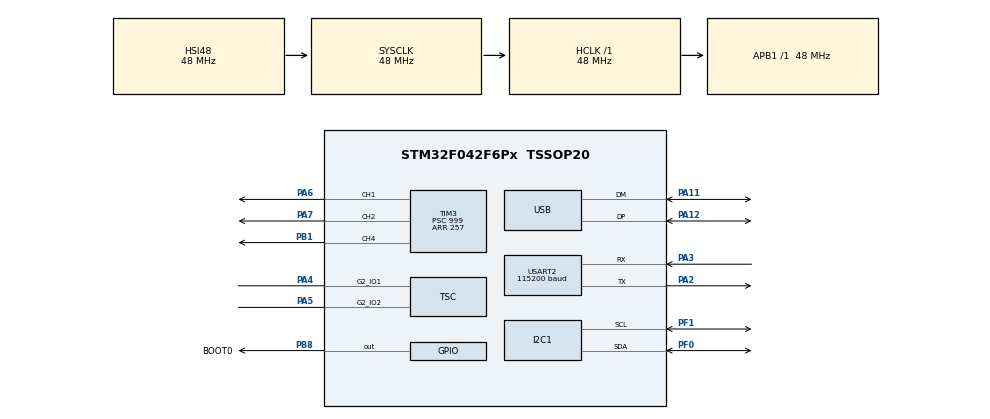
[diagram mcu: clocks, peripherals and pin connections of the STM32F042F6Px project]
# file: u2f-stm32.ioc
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I2C1.OwnAddress2Masks=I2C_OA2_NOMASK
Mcu.Family=STM32F0
Mcu.Name=STM32F042F6Px
Mcu.Package=TSSOP20
NVIC.USART2_IRQn=true\:0\:0\:false\:false\:true
NVIC.USB_IRQn=true\:0\:0\:false\:false\:true
PA11.Mode=Device
PA11.Signal=USB_DM
PA12.Mode=Device
PA12.Signal=USB_DP
PA13.Mode=Serial_Wire
PA13.Signal=SYS_SWDIO
PA14.Mode=Serial_Wire
PA14.Signal=SYS_SWCLK
PA2.Mode=Asynchronous
PA2.Signal=USART2_TX
PA3.Mode=Asynchronous
PA3.Signal=USART2_RX
PA4.Mode=G2_IO1-Channel
PA4.Signal=TSC_G2_IO1
PA5.Mode=G2_IO2-Sampling
PA5.Signal=TSC_G2_IO2
PA6.Signal=S_TIM3_CH1
PA7.Signal=S_TIM3_CH2
PB1.Signal=S_TIM3_CH4
PB8.GPIO_Label=BOOT0
PB8.Signal=GPIO_Output
PF0-OSC_IN.Mode=I2C
PF0-OSC_IN.Signal=I2C1_SDA
PF1-OSC_OUT.Mode=I2C
PF1-OSC_OUT.Signal=I2C1_SCL
ProjectManager.HeapSize=0x200
ProjectManager.StackSize=0x400
ProjectManager.TargetToolchain=SW4STM32
RCC.AHBFreq_Value=48000000
RCC.APB1Freq_Value=48000000
RCC.APB1TimFreq_Value=48000000
RCC.CECEnable=false
RCC.ClockTypeHCLK=RCC_CLOCKTYPE_HCLK
RCC.ClockTypePCLK1=RCC_CLOCKTYPE_PCLK1
RCC.DATA_CACHE_ENABLE=0
RCC.EnableHSE=false
RCC.EnableHSERTCDevisor=false
RCC.EnableLSE=false
RCC.EnableLSERTC=false
RCC.EnableMCOMultDivisor=false
RCC.HCLKFreq_Value=48000000
RCC.HSEState=RCC_HSE_OFF
RCC.HSI14State=RCC_HSI14_OFF
RCC.HSI48State=RCC_HSI48_ON
RCC.HSIState=RCC_HSI_ON
RCC.I2C1Enable=true
RCC.INSTRUCTION_CACHE_ENABLE=0
RCC.IWDGEnable=false
RCC.LSIState=RCC_LSI_ON
RCC.MCOEnable=false
RCC.OscillatorTypeHSI=RCC_OSCILLATORTYPE_HSI
RCC.OscillatorTypeHSI48=RCC_OSCILLATORTYPE_HSI48
RCC.OscillatorTypeLSI=RCC_OSCILLATORTYPE_LSI
RCC.PLLSource=RCC_PLLSOURCE_HSI
RCC.PLLSourceVirtual=RCC_PLLSOURCE_HSI
RCC.PLLState=RCC_PLL_OFF
RCC.RCC_PERIPHCLK_I2C1Var=RCC_PERIPHCLK_I2C1
RCC.RCC_PERIPHCLK_RTCVar=RCC_PERIPHCLK_RTC
RCC.RTCEnable=true
RCC.SYSCLKFreq_VALUE=48000000
RCC.SYSCLKSource=RCC_SYSCLKSOURCE_HSI48
RCC.USART1Enable=false
RCC.USART2Enable=true
RCC.USBEnable=true
RTC.OutPut=RTC_OUTPUT_DISABLE
RTC.OutPutPolarity=RTC_OUTPUT_POLARITY_HIGH
RTC.OutPutType=RTC_OUTPUT_TYPE_OPENDRAIN
SH.S_TIM3_CH1.0=TIM3_CH1,PWM Generation1 CH1
SH.S_TIM3_CH2.0=TIM3_CH2,PWM Generation2 CH2
SH.S_TIM3_CH4.0=TIM3_CH4,PWM Generation4 CH4
TIM3.AutoReloadPreload=TIM_AUTORELOAD_PRELOAD_DISABLE
TIM3.Channel-PWM\ Generation1\ CH1=TIM_CHANNEL_1
TIM3.Channel-PWM\ Generation2\ CH2=TIM_CHANNEL_2
TIM3.Channel-PWM\ Generation4\ CH4=TIM_CHANNEL_4
TIM3.ClearInputSource=TIM_CLEARINPUTSOURCE_NONE
TIM3.ClearInputState=ENABLE
TIM3.OCPolarity_1=TIM_OCPOLARITY_LOW
TIM3.OCPolarity_2=TIM_OCPOLARITY_LOW
TIM3.OCPolarity_4=TIM_OCPOLARITY_LOW
TIM3.Period=257
TIM3.Prescaler=999
TSC.CTPulseHighLength=TSC_CTPH_1CYCLE
TSC.CTPulseLowLength=TSC_CTPL_1CYCLE
TSC.ChannelIOs-G2_IO1=TSC_GROUP2_IO1
TSC.MaxCountValue=TSC_MCV_16383
TSC.SamplingIOs-G2_IO2=TSC_GROUP2_IO2
USART2.BaudRate=115200
USART2.HwFlowCtl-Asynchronous=UART_HWCONTROL_NONE
USART2.VirtualMode-Asynchronous=VM_ASYNC
USART2.WordLength=WORDLENGTH_8B
USB_DEVICE.CLASS_NAME_FS=CUSTOMHID
USB_DEVICE.MANUFACTURER_STRING=TUNA
USB_DEVICE.PID_CUSTOMHID_FS=35535
USB_DEVICE.PRODUCT_STRING_CUSTOMHID_FS=U2F-TypeC
USB_DEVICE.USBD_CUSTOMHID_OUTREPORT_BUF_SIZE=64
USB_DEVICE.USBD_CUSTOM_HID_REPORT_DESC_SIZE=34
USB_DEVICE.USBD_DEBUG_LEVEL=0
USB_DEVICE.USBD_HandleTypeDef_FS=hUsbDevice_USB_FS
USB_DEVICE.USBD_SELF_POWERED=0
USB_DEVICE.VID=4292
USB_DEVICE.VirtualMode=CustomHid
USB_DEVICE.VirtualModeFS=Custom_Hid_FS
VP_RTC_VS_RTC_Activate.Mode=RTC_Enabled
VP_SYS_VS_PINREMAP.Mode=PINREMAP
VP_USB_DEVICE_VS_USB_DEVICE_CUSTOM_HID_FS.Mode=CUSTOM_HID_FS
board=u2f-stm32

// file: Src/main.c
/**
  ******************************************************************************
  * File Name          : main.c
  * Description        : Main program body
  ******************************************************************************
  *
  * Copyright (c) 2017 STMicroelectronics International N.V.
  * All rights reserved.
  *
  * Redistribution and use in source and binary forms, with or without
  * modification, are permitted, provided that the following conditions are met:
  *
  * 1. Redistribution of source code must retain the above copyright notice,
  *    this list of conditions and the following disclaimer.
  * 2. Redistributions in binary form must reproduce the above copyright notice,
  *    this list of conditions and the following disclaimer in the documentation
  *    and/or other materials provided with the distribution.
  * 3. Neither the name of STMicroelectronics nor the names of other
  *    contributors to this software may be used to endorse or promote products
  *    derived from this software without specific written permission.
  * 4. This software, including modifications and/or derivative works of this
  *    software, must execute solely and exclusively on microcontroller or
  *    microprocessor devices manufactured by or for STMicroelectronics.
  * 5. Redistribution and use of this software other than as permitted under
  *    this license is void and will automatically terminate your rights under
  *    this license.
  *
  * THIS SOFTWARE IS PROVIDED BY STMICROELECTRONICS AND CONTRIBUTORS "AS IS"
  * AND ANY EXPRESS, IMPLIED OR STATUTORY WARRANTIES, INCLUDING, BUT NOT
  * LIMITED TO, THE IMPLIED WARRANTIES OF MERCHANTABILITY, FITNESS FOR A
  * PARTICULAR PURPOSE AND NON-INFRINGEMENT OF THIRD PARTY INTELLECTUAL PROPERTY
  * RIGHTS ARE DISCLAIMED TO THE FULLEST EXTENT PERMITTED BY LAW. IN NO EVENT
  * SHALL STMICROELECTRONICS OR CONTRIBUTORS BE LIABLE FOR ANY DIRECT, INDIRECT,
  * INCIDENTAL, SPECIAL, EXEMPLARY, OR CONSEQUENTIAL DAMAGES (INCLUDING, BUT NOT
  * LIMITED TO, PROCUREMENT OF SUBSTITUTE GOODS OR SERVICES; LOSS OF USE, DATA,
  * OR PROFITS; OR BUSINESS INTERRUPTION) HOWEVER CAUSED AND ON ANY THEORY OF
  * LIABILITY, WHETHER IN CONTRACT, STRICT LIABILITY, OR TORT (INCLUDING
  * NEGLIGENCE OR OTHERWISE) ARISING IN ANY WAY OUT OF THE USE OF THIS SOFTWARE,
  * EVEN IF ADVISED OF THE POSSIBILITY OF SUCH DAMAGE.
  *
  ******************************************************************************
  */
#include "main.h"
#include "stm32f0xx_hal.h"
#include "usb_device.h"

/* USER CODE BEGIN Includes */
#include "app.h"
#include "i2c.h"
#include "atecc508a.h"
#include "eeprom.h"
#include "bsp.h"
#include "custom.h"
#include "u2f.h"
#include "tests.h"

/* USER CODE END Includes */

I2C_HandleTypeDef hi2c1;

RTC_HandleTypeDef hrtc;

TIM_HandleTypeDef htim3;

TSC_HandleTypeDef htsc;

UART_HandleTypeDef huart2;

/* USER CODE BEGIN PV */
/* Private variables ---------------------------------------------------------*/

data struct APP_DATA appdata;

uint8_t error;
uint8_t state;
uint32_t winkc;
struct u2f_hid_msg hid_msg_buf;
struct u2f_hid_msg * hid_msg;

static volatile uint8_t debug_usart_rxbuf[DEBUG_USART_RXBUF_SIZE];
extern char USB_SERIAL_NUMBER_DEF[];
/* USER CODE END PV */

void SystemClock_Config(void);
void Error_Handler(void);
static void MX_GPIO_Init(void);
static void MX_I2C1_Init(void);
static void MX_TSC_Init(void);
static void MX_USART2_UART_Init(void);
static void MX_TIM3_Init(void);
static void MX_RTC_Init(void);

void HAL_TIM_MspPostInit(TIM_HandleTypeDef *htim);

/* USER CODE BEGIN PFP */
/* Private function prototypes -----------------------------------------------*/

/* USER CODE END PFP */

/* USER CODE BEGIN 0 */

static void init(struct APP_DATA* ap)
{

  u2f_hid_init();
  smb_init();
  atecc_idle();

  // U2F_BUTTON_VAL = 1;
  state = APP_NOTHING;
  error = ERROR_NOTHING;
}

void set_app_error(APP_ERROR_CODE ec)
{
  error = ec;
}

uint8_t get_app_error()
{
  return error;
}

uint8_t get_app_state()
{
  return state;
}

void set_app_state(APP_STATE s)
{
  state = s;
}

void app_wink(uint32_t c)
{
#ifdef U2F_SUPPORT_WINK
  winkc = c;
  set_app_state(APP_WINK);
#endif
}

void set_app_u2f_hid_msg(struct u2f_hid_msg * msg )
{
  state = APP_HID_MSG;
  hid_msg = &hid_msg_buf;
  memcpy(hid_msg, msg, sizeof(hid_msg_buf));
}

void rgb(uint8_t r, uint8_t g, uint8_t b)
{
  TIM_OC_InitTypeDef sConfigOC;

  sConfigOC.OCMode = TIM_OCMODE_PWM1;
  sConfigOC.OCPolarity = TIM_OCPOLARITY_LOW;
  sConfigOC.OCFastMode = TIM_OCFAST_DISABLE;
  sConfigOC.OCNPolarity  = TIM_OCNPOLARITY_HIGH;
  sConfigOC.OCIdleState  = TIM_OCIDLESTATE_RESET;
  sConfigOC.OCNIdleState = TIM_OCNIDLESTATE_RESET;

  sConfigOC.Pulse = r;
  HAL_TIM_PWM_ConfigChannel(&htim3, &sConfigOC, TIM_CHANNEL_1);

  sConfigOC.Pulse = g;
  HAL_TIM_PWM_ConfigChannel(&htim3, &sConfigOC, TIM_CHANNEL_2);

  sConfigOC.Pulse = b;
  HAL_TIM_PWM_ConfigChannel(&htim3, &sConfigOC, TIM_CHANNEL_4);

  HAL_TIM_PWM_Start(&htim3, TIM_CHANNEL_1);
  HAL_TIM_PWM_Start(&htim3, TIM_CHANNEL_2);
  HAL_TIM_PWM_Start(&htim3, TIM_CHANNEL_4);
}

#define ms_since(ms,num) (((uint16_t)get_ms() - (ms)) >= num ? ((ms=(uint16_t)get_ms())):0)

/**
  * @brief  Rx Transfer completed callback
  * @param  UartHandle: UART handle
  * @note   This example shows a simple way to report end of DMA Rx transfer, and
  *         you can add your own implementation.
  * @retval None
  */
void HAL_UART_RxCpltCallback(UART_HandleTypeDef *UartHandle)
{
    u2f_prints("in\r\n");
  /* Set transmission flag: trasfer complete*/
  if(debug_usart_rxbuf[0] == 0x55){
      u2f_prints("restarting for upgrade\r\n");
      reboot_to_bootloader();
  }
  HAL_UART_Receive_IT(&huart2, (uint8_t *)debug_usart_rxbuf, 1);
}

#ifdef U2F_PRINT
/* Retargeting functions for gcc-arm-embedded */
int _write (int fd, char *ptr, int len)
{
  /* Write "len" of char from "ptr" to file id "fd"
   * Return number of char written.
   * Need implementing with UART here. */
  HAL_UART_Transmit(&huart2, (uint8_t*)ptr, len, 1000);
  return len;
}
#endif
/* USER CODE END 0 */

int main(void)
{

  /* USER CODE BEGIN 1 */

  uint16_t ms_heart=0;
  uint16_t ms_wink=0;
  uint16_t ms_grad=0;
  uint8_t winks = 0, light = 1, grad_dir = 0;
  int8_t grad_inc = 0;
  int8_t ii;
  // data uint8_t xdata * clear = 0;
  data int8_t i;

  hrtc.Instance =RTC;
  if(HAL_RTCEx_BKUPRead(&hrtc, RTC_BKP_DR0) ==0x32F0){
      const uintptr_t bootloader = 0x1FFFC400;
      MX_GPIO_Init();
      HAL_GPIO_WritePin(BOOT0_GPIO_Port, BOOT0_Pin, GPIO_PIN_SET);

      //clear flag
      __HAL_RCC_PWR_CLK_ENABLE();
      HAL_PWR_EnableBkUpAccess();
      __HAL_RCC_RTC_CONFIG(RCC_RTCCLKSOURCE_LSI);
      __HAL_RCC_RTC_ENABLE();
      HAL_RTCEx_BKUPWrite(&hrtc, RTC_BKP_DR0,0x0);
      __HAL_RCC_RTC_DISABLE();
       HAL_PWR_DisableBkUpAccess();
      __HAL_RCC_PWR_CLK_DISABLE();

      //jump to bootloader
      __set_MSP(*(__IO uint32_t*) bootloader);
      void (*SysMemBootJump)(void) = (void (*)(void)) (*((uint32_t *) (bootloader+4)));

      //  void (*SysMemBootJump)(void) = (void (*)(void)) 0x1FFFC518; //ref: AN2606 section "STM32F04xxx devices bootloader"

      SysMemBootJump();
  }
  //build USB serial number by unique chip ID
  for (int word = 0; word < 3; ++word)
  {
    uint32_t val = STM32_UUID[word];
    for (int hb = 0; hb < 8; ++hb)
    {
      char ch = val & 0xf;
      ch = (ch < 10) ? ch + '0' : ch - 10 + 'A';
      USB_SERIAL_NUMBER_DEF[23-(word*8+hb)] = ch;
      val >>= 4;
    }
  }

  /* USER CODE END 1 */

  /* MCU Configuration----------------------------------------------------------*/

  /* Reset of all peripherals, Initializes the Flash interface and the Systick. */
  HAL_Init();

  /* Configure the system clock */
  SystemClock_Config();

  /* Initialize all configured peripherals */
  MX_GPIO_Init();
  MX_I2C1_Init();
  MX_TSC_Init();
  MX_USART2_UART_Init();
  MX_TIM3_Init();
  MX_USB_DEVICE_Init();
  MX_RTC_Init();

  /* USER CODE BEGIN 2 */
  rgb_hex(0);

  //for debug only!
  HAL_UART_Receive_IT(&huart2, (uint8_t *)debug_usart_rxbuf, 1);

  init(&appdata);
  u2f_prints("U2F ZERO\r\n");

  run_tests();

  atecc_setup_init(appdata.tmp);

  rgb_hex(0);

  /* USER CODE END 2 */

  /* Infinite loop */
  while (1)
  {

  /* USER CODE BEGIN 3 */
    u2f_hid_check_timeouts();

    switch(state)
    {
      case APP_NOTHING:
        // Flash gradient on LED
        if (ms_since(ms_grad, 150))
        {
          if (light == 16)
          {
            grad_dir = 0;
          }
          else if (light == 1)
          {
            grad_dir = 1;
          }
          if (grad_dir)
            if (U2F_BUTTON_IS_PRESSED())
              rgb(0,0,light++);
            else
              rgb(0,light++,0);
          else
            if (U2F_BUTTON_IS_PRESSED())
              rgb(0,0,light--);
            else
              rgb(0,light--,0);
        }
        break;
      case APP_HID_MSG:
        // HID msg received, pass to protocols
        if (custom_command(hid_msg))
        {

        }
        else
        {
          u2f_hid_request(hid_msg);
        }

        if (state == APP_HID_MSG)
          state = APP_NOTHING;
        break;
#ifdef U2F_SUPPORT_WINK
      case APP_WINK:
        // Do wink pattern for USB HID wink request
        rgb_hex(winkc);
        light = 1;
        ms_wink = get_ms();
        state = _APP_WINK;
        break;
      case _APP_WINK:

        if (ms_since(ms_wink,150))
        {
          if (light)
          {
            light = 0;
            rgb_hex(winkc);
          }
          else
          {
            light = 1;
            rgb_hex(0);
          }
          winks++;
        }
        if (winks == 5)
        {
          winks = 0;
          state = APP_NOTHING;
        }
        break;
#endif
    }

    if (error)
    {
      u2f_printx("error: ", 1, (uint16_t)error);
#ifdef U2F_BLINK_ERRORS
      for (ii=0; ii < 8; ii++)
      {
        if (error & (1<<ii))
        {
          rgb_hex(U2F_DEFAULT_COLOR_INPUT_SUCCESS);
        }
        else
        {
          rgb_hex(U2F_DEFAULT_COLOR_ERROR);
        }
        u2f_delay(400);
        rgb_hex(0);
        u2f_delay(100);

      }
#else
      rgb_hex(U2F_DEFAULT_COLOR_ERROR);
      // wipe ram
      // for (i=0; i<0x400;i++)
      // {
      //   *(clear++) = 0x0;
      // }
#endif
      error = 0;
      while(!ms_since(ms_heart,500))
      {
        watchdog();
      }
    }
  }
  /* USER CODE END 3 */

}

/** System Clock Configuration
*/
void SystemClock_Config(void)
{

  RCC_OscInitTypeDef RCC_OscInitStruct;
  RCC_ClkInitTypeDef RCC_ClkInitStruct;
  RCC_PeriphCLKInitTypeDef PeriphClkInit;

    /**Initializes the CPU, AHB and APB busses clocks
    */
  RCC_OscInitStruct.OscillatorType = RCC_OSCILLATORTYPE_HSI|RCC_OSCILLATORTYPE_HSI48
                              |RCC_OSCILLATORTYPE_LSI;
  RCC_OscInitStruct.HSIState = RCC_HSI_ON;
  RCC_OscInitStruct.HSI48State = RCC_HSI48_ON;
  RCC_OscInitStruct.HSICalibrationValue = 16;
  RCC_OscInitStruct.LSIState = RCC_LSI_ON;
  RCC_OscInitStruct.PLL.PLLState = RCC_PLL_NONE;
  if (HAL_RCC_OscConfig(&RCC_OscInitStruct) != HAL_OK)
  {
    Error_Handler();
  }

    /**Initializes the CPU, AHB and APB busses clocks
    */
  RCC_ClkInitStruct.ClockType = RCC_CLOCKTYPE_HCLK|RCC_CLOCKTYPE_SYSCLK
                              |RCC_CLOCKTYPE_PCLK1;
  RCC_ClkInitStruct.SYSCLKSource = RCC_SYSCLKSOURCE_HSI48;
  RCC_ClkInitStruct.AHBCLKDivider = RCC_SYSCLK_DIV1;
  RCC_ClkInitStruct.APB1CLKDivider = RCC_HCLK_DIV1;

  if (HAL_RCC_ClockConfig(&RCC_ClkInitStruct, FLASH_LATENCY_1) != HAL_OK)
  {
    Error_Handler();
  }

  PeriphClkInit.PeriphClockSelection = RCC_PERIPHCLK_USB|RCC_PERIPHCLK_I2C1
                              |RCC_PERIPHCLK_RTC;
  PeriphClkInit.I2c1ClockSelection = RCC_I2C1CLKSOURCE_HSI;
  PeriphClkInit.RTCClockSelection = RCC_RTCCLKSOURCE_LSI;
  PeriphClkInit.UsbClockSelection = RCC_USBCLKSOURCE_HSI48;

  if (HAL_RCCEx_PeriphCLKConfig(&PeriphClkInit) != HAL_OK)
  {
    Error_Handler();
  }

    /**Configure the Systick interrupt time
    */
  HAL_SYSTICK_Config(HAL_RCC_GetHCLKFreq()/1000);

    /**Configure the Systick
    */
  HAL_SYSTICK_CLKSourceConfig(SYSTICK_CLKSOURCE_HCLK);

  /* SysTick_IRQn interrupt configuration */
  HAL_NVIC_SetPriority(SysTick_IRQn, 0, 0);
}

/* I2C1 init function */
static void MX_I2C1_Init(void)
{

  hi2c1.Instance = I2C1;
  hi2c1.Init.Timing = 0x2000090E;
  hi2c1.Init.OwnAddress1 = 0;
  hi2c1.Init.AddressingMode = I2C_ADDRESSINGMODE_7BIT;
  hi2c1.Init.DualAddressMode = I2C_DUALADDRESS_DISABLE;
  hi2c1.Init.OwnAddress2 = 0;
  hi2c1.Init.OwnAddress2Masks = I2C_OA2_NOMASK;
  hi2c1.Init.GeneralCallMode = I2C_GENERALCALL_DISABLE;
  hi2c1.Init.NoStretchMode = I2C_NOSTRETCH_DISABLE;
  if (HAL_I2C_Init(&hi2c1) != HAL_OK)
  {
    Error_Handler();
  }

    /**Configure Analogue filter
    */
  if (HAL_I2CEx_ConfigAnalogFilter(&hi2c1, I2C_ANALOGFILTER_ENABLE) != HAL_OK)
  {
    Error_Handler();
  }

    /**Configure Digital filter
    */
  if (HAL_I2CEx_ConfigDigitalFilter(&hi2c1, 0) != HAL_OK)
  {
    Error_Handler();
  }

}

/* RTC init function */
static void MX_RTC_Init(void)
{

    /**Initialize RTC Only
    */
  hrtc.Instance = RTC;
  hrtc.Init.HourFormat = RTC_HOURFORMAT_24;
  hrtc.Init.AsynchPrediv = 127;
  hrtc.Init.SynchPrediv = 255;
  hrtc.Init.OutPut = RTC_OUTPUT_DISABLE;
  hrtc.Init.OutPutPolarity = RTC_OUTPUT_POLARITY_HIGH;
  hrtc.Init.OutPutType = RTC_OUTPUT_TYPE_OPENDRAIN;
  if (HAL_RTC_Init(&hrtc) != HAL_OK)
  {
    Error_Handler();
  }

}

/* TIM3 init function */
static void MX_TIM3_Init(void)
{

  TIM_MasterConfigTypeDef sMasterConfig;
  TIM_OC_InitTypeDef sConfigOC;

  htim3.Instance = TIM3;
  htim3.Init.Prescaler = 999;
  htim3.Init.CounterMode = TIM_COUNTERMODE_UP;
  htim3.Init.Period = 257;
  htim3.Init.ClockDivision = TIM_CLOCKDIVISION_DIV1;
  htim3.Init.AutoReloadPreload = TIM_AUTORELOAD_PRELOAD_DISABLE;
  if (HAL_TIM_PWM_Init(&htim3) != HAL_OK)
  {
    Error_Handler();
  }

  sMasterConfig.MasterOutputTrigger = TIM_TRGO_RESET;
  sMasterConfig.MasterSlaveMode = TIM_MASTERSLAVEMODE_DISABLE;
  if (HAL_TIMEx_MasterConfigSynchronization(&htim3, &sMasterConfig) != HAL_OK)
  {
    Error_Handler();
  }

  sConfigOC.OCMode = TIM_OCMODE_PWM1;
  sConfigOC.Pulse = 0;
  sConfigOC.OCPolarity = TIM_OCPOLARITY_LOW;
  sConfigOC.OCFastMode = TIM_OCFAST_DISABLE;
  if (HAL_TIM_PWM_ConfigChannel(&htim3, &sConfigOC, TIM_CHANNEL_1) != HAL_OK)
  {
    Error_Handler();
  }

  if (HAL_TIM_PWM_ConfigChannel(&htim3, &sConfigOC, TIM_CHANNEL_2) != HAL_OK)
  {
    Error_Handler();
  }

  if (HAL_TIM_PWM_ConfigChannel(&htim3, &sConfigOC, TIM_CHANNEL_4) != HAL_OK)
  {
    Error_Handler();
  }

  HAL_TIM_MspPostInit(&htim3);

}

/* TSC init function */
static void MX_TSC_Init(void)
{

    /**Configure the TSC peripheral
    */
  htsc.Instance = TSC;
  htsc.Init.CTPulseHighLength = TSC_CTPH_1CYCLE;
  htsc.Init.CTPulseLowLength = TSC_CTPL_1CYCLE;
  htsc.Init.SpreadSpectrum = DISABLE;
  htsc.Init.SpreadSpectrumDeviation = 1;
  htsc.Init.SpreadSpectrumPrescaler = TSC_SS_PRESC_DIV1;
  htsc.Init.PulseGeneratorPrescaler = TSC_PG_PRESC_DIV64;
  htsc.Init.MaxCountValue = TSC_MCV_16383;
  htsc.Init.IODefaultMode = TSC_IODEF_OUT_PP_LOW;
  htsc.Init.SynchroPinPolarity = TSC_SYNC_POLARITY_FALLING;
  htsc.Init.AcquisitionMode = TSC_ACQ_MODE_NORMAL;
  htsc.Init.ChannelIOs = TSC_GROUP2_IO1;
  htsc.Init.SamplingIOs = TSC_GROUP2_IO2;
  if (HAL_TSC_Init(&htsc) != HAL_OK)
  {
    Error_Handler();
  }

}

/* USART2 init function */
static void MX_USART2_UART_Init(void)
{

  huart2.Instance = USART2;
  huart2.Init.BaudRate = 115200;
  huart2.Init.WordLength = UART_WORDLENGTH_8B;
  huart2.Init.StopBits = UART_STOPBITS_1;
  huart2.Init.Parity = UART_PARITY_NONE;
  huart2.Init.Mode = UART_MODE_TX_RX;
  huart2.Init.HwFlowCtl = UART_HWCONTROL_NONE;
  huart2.Init.OverSampling = UART_OVERSAMPLING_16;
  huart2.Init.OneBitSampling = UART_ONE_BIT_SAMPLE_DISABLE;
  huart2.AdvancedInit.AdvFeatureInit = UART_ADVFEATURE_NO_INIT;
  if (HAL_UART_Init(&huart2) != HAL_OK)
  {
    Error_Handler();
  }

}

/** Configure pins as
        * Analog
        * Input
        * Output
        * EVENT_OUT
        * EXTI
*/
static void MX_GPIO_Init(void)
{

  GPIO_InitTypeDef GPIO_InitStruct;

  /* GPIO Ports Clock Enable */
  __HAL_RCC_GPIOB_CLK_ENABLE();
  __HAL_RCC_GPIOF_CLK_ENABLE();
  __HAL_RCC_GPIOA_CLK_ENABLE();

  /*Configure GPIO pin Output Level */
  HAL_GPIO_WritePin(BOOT0_GPIO_Port, BOOT0_Pin, GPIO_PIN_RESET);

  /*Configure GPIO pin : BOOT0_Pin */
  GPIO_InitStruct.Pin = BOOT0_Pin;
  GPIO_InitStruct.Mode = GPIO_MODE_OUTPUT_PP;
  GPIO_InitStruct.Pull = GPIO_NOPULL;
  GPIO_InitStruct.Speed = GPIO_SPEED_FREQ_LOW;
  HAL_GPIO_Init(BOOT0_GPIO_Port, &GPIO_InitStruct);

}

void Error_Handler(void)
{
  while(1)
  {
  }
}

/************************ (C) COPYRIGHT STMicroelectronics *****END OF FILE****/
